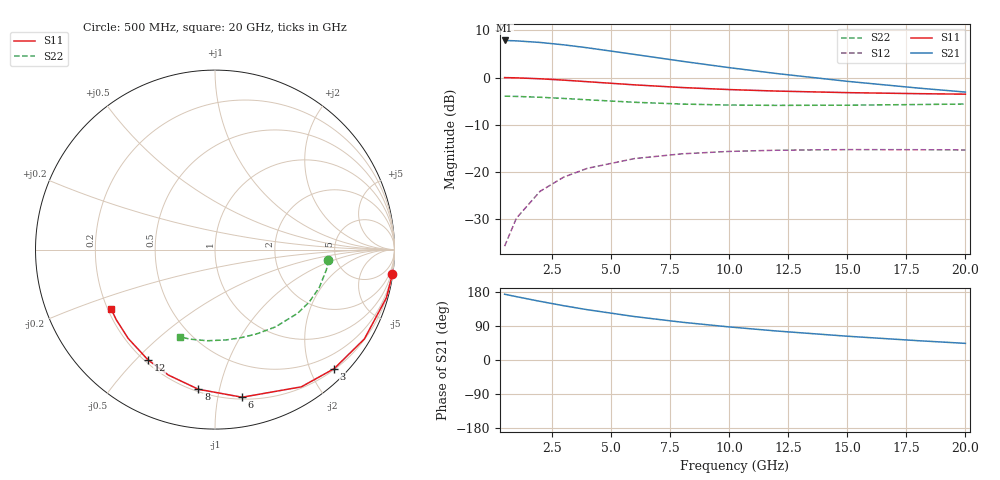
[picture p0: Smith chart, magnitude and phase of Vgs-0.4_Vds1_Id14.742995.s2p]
# Hz S RI R 50
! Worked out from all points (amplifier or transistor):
!   12 points, 500 MHz to 20 GHz, reference 50 ohm
!   highest |S21| = 7.8 dB at 500 MHz (marker M1)
!   |S21| within 3 dB of that: start of sweep to 6.058 GHz
!   unconditionally stable (mu >= 1): 13.07 GHz to end of sweep
!   at 2 GHz: K = 0.15, MSG = 15.8 dB, |S12| = -24.1 dB
!   at 8 GHz: K = 0.61, MSG = 9.8 dB, |S12| = -16.2 dB
!   at 20 GHz: K = 1.58, MAG = 1.6 dB, |S12| = -15.3 dB
!   S11 on the Smith chart (normalised r, x): 500 MHz: 0, -14; 3 GHz: 0.22, -2.40; 6 GHz: 0.22, -1.18; 8 GHz: 0.21, -0.87; 12 GHz: 0.21, -0.54; 20 GHz: 0.21, -0.25
5e8  0.9885 -0.1372  -2.452 0.2772  0.00156 0.0163  0.6318 -0.057
1e9  0.9548 -0.2689  -2.382 0.5428  0.00611 0.0319  0.6208 -0.1123
2e9  0.8323 -0.4977  -2.128 1.001  0.0226 0.0582  0.5806 -0.2125
3e9  0.6637 -0.6634  -1.778 1.327  0.0451 0.0758  0.524 -0.2934
4e9  0.4807 -0.7647  -1.401 1.517  0.0693 0.0846  0.4607 -0.3546
6e9  0.151 -0.8226  -0.731 1.596  0.1115 0.0825  0.3375 -0.4303
8e9  -0.0923 -0.7782  -0.2517 1.466  0.1405 0.067  0.2314 -0.47
1e10  -0.2595 -0.6991  0.0601 1.271  0.158 0.0478  0.1413 -0.4916
1.2e10  -0.3738 -0.6139  0.2562 1.073  0.1675 0.029  0.0621 -0.5033
1.5e10  -0.4839 -0.4945  0.4172 0.8106  0.1725 0.00426  -0.0436 -0.5078
1.8e10  -0.5503 -0.3904  0.4872 0.6005  0.1714 -0.0158  -0.1376 -0.499
2e10  -0.5797 -0.3287  0.5055 0.4864  0.1689 -0.0269  -0.1946 -0.4867
